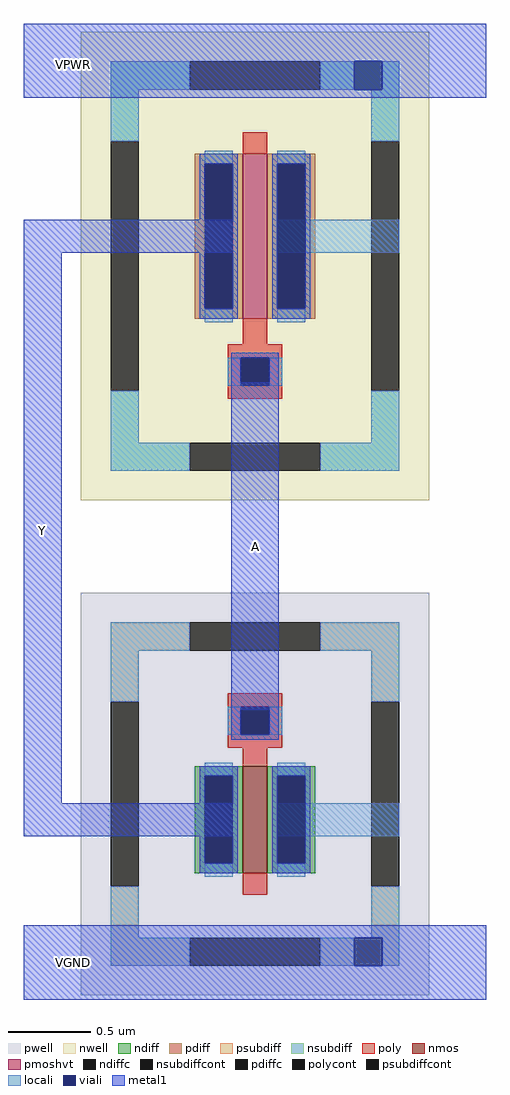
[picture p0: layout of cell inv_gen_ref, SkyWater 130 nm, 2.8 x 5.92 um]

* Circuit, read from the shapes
.subckt inv_gen_ref A Y VGND VPWR
XM1 VGND A Y VGND sky130_fd_pr__nfet_01v8 w=0.65 l=0.15
XM2 VPWR A Y VPWR sky130_fd_pr__pfet_01v8_hvt w=1 l=0.15
.ends

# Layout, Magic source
magic
tech sky130A
magscale 1 2
<< locali >>
rect 307 936 455 976
rect 307 229 455 269
<< viali >>
rect 400 1134 434 1168
rect 400 72 434 106
<< metal1 >>
rect 0 1168 560 1214
rect 0 1134 400 1168
rect 434 1134 560 1168
rect 0 1124 560 1134
rect 0 936 259 976
rect 0 269 46 936
rect 251 382 309 779
rect 0 229 259 269
rect 0 106 560 121
rect 0 72 400 106
rect 434 72 560 106
rect 0 31 560 72
use sky130_fd_pr__nfet_01v8_HFW449  n0
transform 1 0 280 0 1 280
box -211 -244 211 244
use sky130_fd_pr__pfet_01v8_hvt_55X2WM  p0
transform 1 0 280 0 1 920
box -211 -284 211 284
<< labels >>
rlabel metal1 260 560 300 600 0 A
port 1 nsew
rlabel metal1 3 580 43 620 0 Y
port 2 nsew
rlabel metal1 40 56 80 96 0 VGND
port 3 nsew
rlabel metal1 40 1144 80 1184 0 VPWR
port 4 nsew
<< end >>

# cell sky130_fd_pr__nfet_01v8_HFW449: kit device sky130_fd_pr__nfet_01v8, w 0.65 l 0.15 m 1 nf 1 diffcov 100 polycov 100 guard 1 glc 1 grc 1 gtc 1 gbc 1 tbcov 100 rlcov 100 topc 1 botc 0 poverlap 0 doverlap 1 lmin 0.15 wmin 0.42 class mosfet compatible {sky130_fd_pr__nfet_01v8 sky130_fd_pr__nfet_01v8_lvt sky130_fd_bs_flash__special_sonosfet_star sky130_fd_pr__nfet_g5v0d10v5 sky130_fd_pr__nfet_05v0_nvt sky130_fd_pr__nfet_03v3_nvt} full_metal 1 conn_gates 0 viasrc 100 viadrn 100 viagate 100 viagb 0 viagr 0 viagl 0 viagt 0 doports 1

# cell sky130_fd_pr__pfet_01v8_hvt_55X2WM: kit device sky130_fd_pr__pfet_01v8_hvt, w 1 l 0.15 m 1 nf 1 diffcov 100 polycov 100 guard 1 glc 1 grc 1 gtc 1 gbc 1 tbcov 100 rlcov 100 topc 0 botc 1 poverlap 0 doverlap 1 lmin 0.15 wmin 0.42 class mosfet compatible {sky130_fd_pr__pfet_01v8 sky130_fd_pr__pfet_01v8_lvt sky130_fd_pr__pfet_01v8_hvt sky130_fd_pr__pfet_g5v0d10v5} full_metal 1 conn_gates 0 viasrc 100 viadrn 100 viagate 100 viagb 0 viagr 0 viagl 0 viagt 0 doports 1
